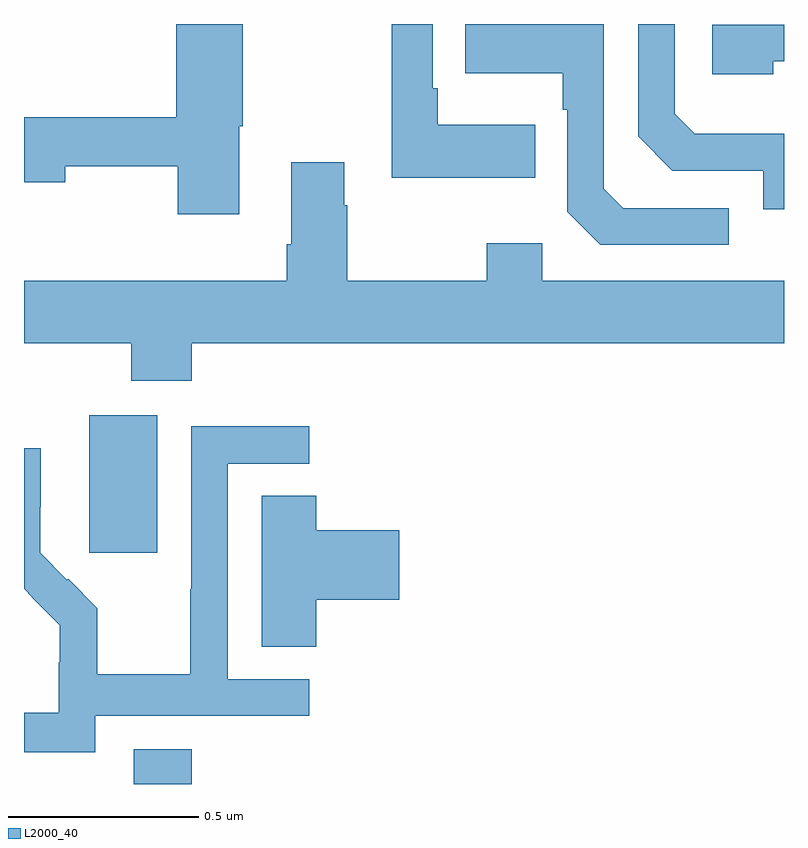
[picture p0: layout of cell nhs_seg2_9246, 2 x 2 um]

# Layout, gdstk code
import gdstk
lib = gdstk.Library(unit=1e-6, precision=1e-09)
def R(c, l, rs):  # rectangles x0, y0, x1, y1
    for r in rs: c.add(gdstk.rectangle(r[:2], r[2:], *l))
def P(c, l, *ps):  # polygons
    for p in ps: c.add(gdstk.Polygon(p, *l))
L2000_40 = (2000, 40)

nhs_seg2_9246 = lib.new_cell('nhs_seg2_9246')
R(nhs_seg2_9246, L2000_40, [(226.289,655.8,226.442,655.891), (226.172,656.409,226.351,656.77)])
P(nhs_seg2_9246, L2000_40, [(228,657.511),(227.765,657.511),(227.712,657.564),(227.712,657.8),(227.616,657.8),(227.616,657.504),(227.706,657.414),(227.946,657.414),(227.946,657.312),(228,657.312)],
  [(226.567,657.531),(226.575,657.531),(226.575,657.8),(226.4,657.8),(226.4,657.554),(226,657.554),(226,657.383),(226.108,657.383),(226.108,657.426),(226.405,657.426),(226.405,657.3),(226.567,657.3)],
  [(227.854,657.315),(227.577,657.315),(227.526,657.366),(227.526,657.8),(227.161,657.8),(227.161,657.671),(227.418,657.671),(227.418,657.575),(227.43,657.575),(227.43,657.306),(227.517,657.219),(227.854,657.219)],
  [(227.345,657.535),(227.089,657.535),(227.089,657.631),(227.076,657.631),(227.076,657.8),(226.968,657.8),(226.968,657.395),(227.345,657.395)],
  [(227.972,657.702),(228,657.702),(228,657.798),(227.811,657.798),(227.811,657.668),(227.972,657.668)],
  [(226.442,656.96),(228,656.96),(228,657.124),(227.364,657.124),(227.364,657.223),(227.218,657.223),(227.218,657.124),(226.851,657.124),(226.851,657.323),(226.843,657.323),(226.843,657.436),(226.703,657.436),(226.703,657.22),(226.691,657.22),(226.691,657.124),(226,657.124),(226,656.96),(226.282,656.96),(226.282,656.861),(226.442,656.861)],
  [(226.188,655.98),(226.75,655.98),(226.75,656.076),(226.536,656.076),(226.536,656.643),(226.75,656.643),(226.75,656.742),(226.44,656.742),(226.44,656.312),(226.438,656.312),(226.438,656.089),(226.193,656.089),(226.193,656.263),(226.116,656.34),(226.113,656.337),(226.043,656.408),(226.043,656.53),(226.044,656.53),(226.044,656.684),(226,656.684),(226,656.314),(226.021,656.293),(226.02,656.292),(226.094,656.218),(226.094,656.121),(226.092,656.121),(226.092,655.987),(226,655.987),(226,655.883),(226.188,655.883)],
  [(226.769,656.285),(226.987,656.285),(226.987,656.468),(226.769,656.468),(226.769,656.558),(226.625,656.558),(226.625,656.161),(226.769,656.161)])

lib.write_gds('nhs_seg2_9246.gds')
